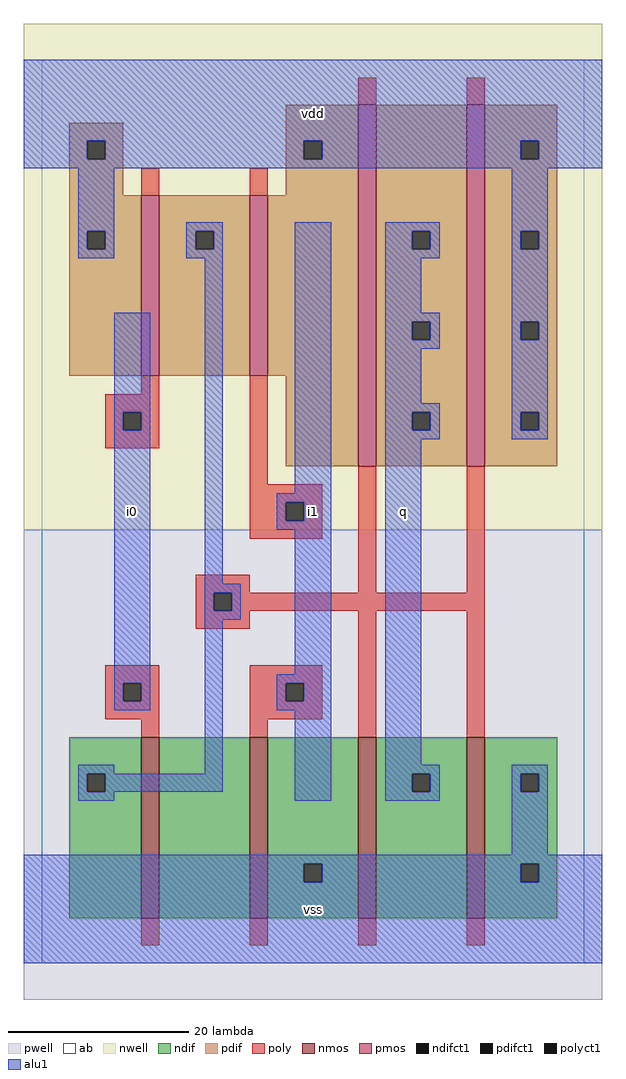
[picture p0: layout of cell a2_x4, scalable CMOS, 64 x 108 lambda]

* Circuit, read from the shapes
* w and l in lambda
.subckt a2_x4 i0 i1 q vdd vss
M1 n1 i0 n2 VSUBS nfet w=20 l=2
M2 vss i1 n1 VSUBS nfet w=20 l=2
M3 q n2 vss VSUBS nfet w=20 l=2 m=2
M4 n2 i0 vdd n3 pfet w=20 l=2
M5 vdd i1 n2 n3 pfet w=20 l=2
M6 q n2 vdd n3 pfet w=40 l=2 m=2
.ends

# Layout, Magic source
magic
tech scmos
<< ab >>
rect 0 0 60 100
<< nwell >>
rect -2 48 62 104
<< pwell >>
rect -2 -4 62 48
<< poly >>
rect 35 95 37 98
rect 47 95 49 98
rect 11 85 13 88
rect 23 85 25 88
rect 11 63 13 65
rect 7 61 13 63
rect 7 59 9 61
rect 11 59 13 61
rect 7 57 13 59
rect 23 53 25 65
rect 23 51 31 53
rect 23 49 27 51
rect 29 49 31 51
rect 23 47 31 49
rect 17 41 23 43
rect 35 41 37 55
rect 47 41 49 55
rect 17 39 19 41
rect 21 39 49 41
rect 17 37 23 39
rect 7 31 13 33
rect 7 29 9 31
rect 11 29 13 31
rect 7 27 13 29
rect 11 25 13 27
rect 23 31 31 33
rect 23 29 27 31
rect 29 29 31 31
rect 23 27 31 29
rect 23 25 25 27
rect 35 25 37 39
rect 47 25 49 39
rect 11 2 13 5
rect 23 2 25 5
rect 35 2 37 5
rect 47 2 49 5
<< ndif >>
rect 3 21 11 25
rect 3 19 5 21
rect 7 19 11 21
rect 3 5 11 19
rect 13 5 23 25
rect 25 11 35 25
rect 25 9 29 11
rect 31 9 35 11
rect 25 5 35 9
rect 37 21 47 25
rect 37 19 41 21
rect 43 19 47 21
rect 37 5 47 19
rect 49 21 57 25
rect 49 19 53 21
rect 55 19 57 21
rect 49 11 57 19
rect 49 9 53 11
rect 55 9 57 11
rect 49 5 57 9
<< pdif >>
rect 3 91 9 93
rect 3 89 5 91
rect 7 89 9 91
rect 3 85 9 89
rect 27 91 35 95
rect 27 89 29 91
rect 31 89 35 91
rect 27 85 35 89
rect 3 81 11 85
rect 3 79 5 81
rect 7 79 11 81
rect 3 65 11 79
rect 13 81 23 85
rect 13 79 17 81
rect 19 79 23 81
rect 13 65 23 79
rect 25 65 35 85
rect 27 55 35 65
rect 37 81 47 95
rect 37 79 41 81
rect 43 79 47 81
rect 37 71 47 79
rect 37 69 41 71
rect 43 69 47 71
rect 37 61 47 69
rect 37 59 41 61
rect 43 59 47 61
rect 37 55 47 59
rect 49 91 57 95
rect 49 89 53 91
rect 55 89 57 91
rect 49 81 57 89
rect 49 79 53 81
rect 55 79 57 81
rect 49 71 57 79
rect 49 69 53 71
rect 55 69 57 71
rect 49 61 57 69
rect 49 59 53 61
rect 55 59 57 61
rect 49 55 57 59
<< alu1 >>
rect -2 91 62 100
rect -2 89 5 91
rect 7 89 29 91
rect 31 89 53 91
rect 55 89 62 91
rect -2 88 62 89
rect 4 81 8 88
rect 4 79 5 81
rect 7 79 8 81
rect 4 78 8 79
rect 16 81 20 82
rect 16 79 17 81
rect 19 79 20 81
rect 16 78 20 79
rect 8 61 12 72
rect 8 59 9 61
rect 11 59 12 61
rect 8 31 12 59
rect 8 29 9 31
rect 11 29 12 31
rect 8 28 12 29
rect 18 42 20 78
rect 28 52 32 82
rect 26 51 32 52
rect 26 49 27 51
rect 29 49 32 51
rect 26 48 32 49
rect 18 41 22 42
rect 18 39 19 41
rect 21 39 22 41
rect 18 38 22 39
rect 4 21 8 22
rect 18 21 20 38
rect 28 32 32 48
rect 26 31 32 32
rect 26 29 27 31
rect 29 29 32 31
rect 26 28 32 29
rect 4 19 5 21
rect 7 19 20 21
rect 4 18 8 19
rect 28 18 32 28
rect 38 81 44 82
rect 38 79 41 81
rect 43 79 44 81
rect 38 78 44 79
rect 52 81 56 88
rect 52 79 53 81
rect 55 79 56 81
rect 38 72 42 78
rect 38 71 44 72
rect 38 69 41 71
rect 43 69 44 71
rect 38 68 44 69
rect 52 71 56 79
rect 52 69 53 71
rect 55 69 56 71
rect 38 62 42 68
rect 38 61 44 62
rect 38 59 41 61
rect 43 59 44 61
rect 38 58 44 59
rect 52 61 56 69
rect 52 59 53 61
rect 55 59 56 61
rect 52 58 56 59
rect 38 22 42 58
rect 38 21 44 22
rect 38 19 41 21
rect 43 19 44 21
rect 38 18 44 19
rect 52 21 56 22
rect 52 19 53 21
rect 55 19 56 21
rect 52 12 56 19
rect -2 11 62 12
rect -2 9 29 11
rect 31 9 53 11
rect 55 9 62 11
rect -2 0 62 9
<< nmos >>
rect 11 5 13 25
rect 23 5 25 25
rect 35 5 37 25
rect 47 5 49 25
<< pmos >>
rect 11 65 13 85
rect 23 65 25 85
rect 35 55 37 95
rect 47 55 49 95
<< polyct1 >>
rect 9 59 11 61
rect 27 49 29 51
rect 19 39 21 41
rect 9 29 11 31
rect 27 29 29 31
<< ndifct1 >>
rect 5 19 7 21
rect 29 9 31 11
rect 41 19 43 21
rect 53 19 55 21
rect 53 9 55 11
<< pdifct1 >>
rect 5 89 7 91
rect 29 89 31 91
rect 5 79 7 81
rect 17 79 19 81
rect 41 79 43 81
rect 41 69 43 71
rect 41 59 43 61
rect 53 89 55 91
rect 53 79 55 81
rect 53 69 55 71
rect 53 59 55 61
<< labels >>
rlabel alu1 10 50 10 50 6 i0
rlabel alu1 30 6 30 6 6 vss
rlabel alu1 40 50 40 50 6 q
rlabel alu1 30 50 30 50 6 i1
rlabel alu1 30 94 30 94 6 vdd
<< end >>
